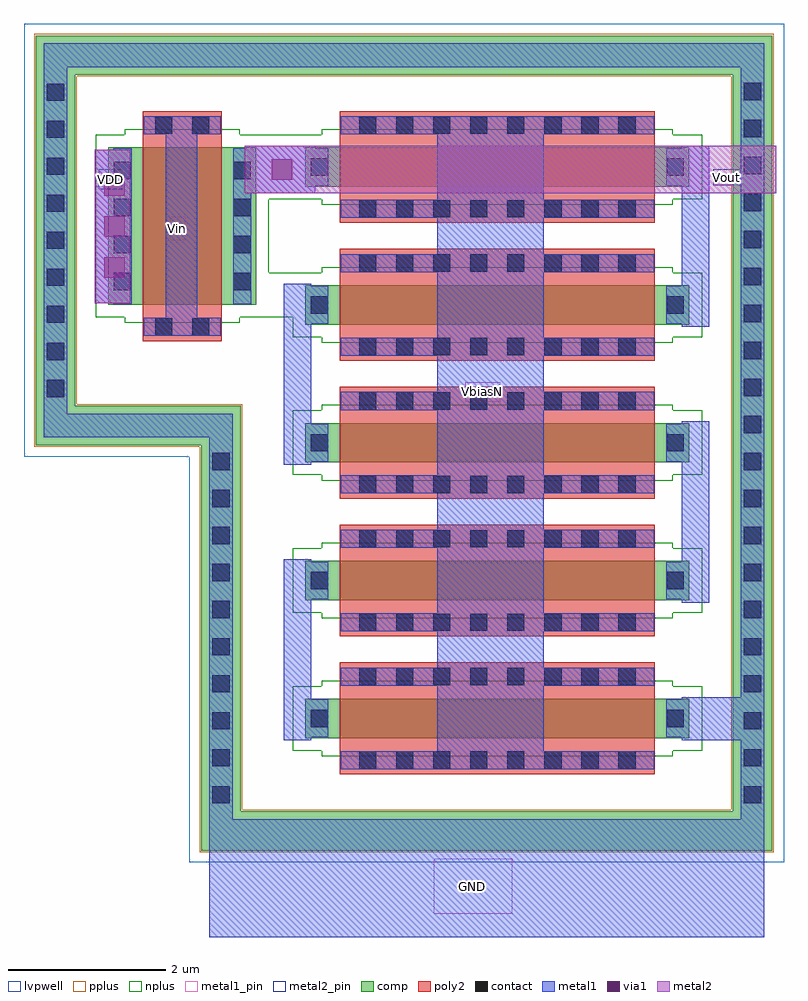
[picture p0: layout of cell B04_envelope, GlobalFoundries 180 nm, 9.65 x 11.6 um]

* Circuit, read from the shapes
.subckt B04_envelope GND VDD VbiasN Vin Vout
XM1 Vout Vin VDD GND nfet_03v3 w=2u l=1u
XM2 GND VbiasN n1 GND nfet_03v3 w=0.5u l=4u
XM3 n2 VbiasN n1 GND nfet_03v3 w=0.5u l=4u
XM4 n2 VbiasN n3 GND nfet_03v3 w=0.5u l=4u
XM5 n4 VbiasN n3 GND nfet_03v3 w=0.5u l=4u
XM6 n4 VbiasN Vout GND nfet_03v3 w=0.5u l=4u
.ends

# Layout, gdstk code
import gdstk
lib = gdstk.Library(unit=1e-6, precision=1e-09)
def R(c, l, rs):  # rectangles x0, y0, x1, y1
    for r in rs: c.add(gdstk.rectangle(r[:2], r[2:], *l))
def A(c, l, x, y, w, h, nx, ny, dx, dy):  # array of equal rectangles
    R(c, l, [(x+i*dx, y+j*dy, x+i*dx+w, y+j*dy+h) for i in range(nx) for j in range(ny)])
comp = (22, 0)
poly2 = (30, 0)
pplus = (31, 0)
nplus = (32, 0)
contact = (33, 0)
metal1 = (34, 0)
metal1_pin = (34, 10)
via1 = (35, 0)
metal2 = (36, 0)
metal2_pin = (36, 10)
lvpwell = (204, 0)

nfet_03v3_7cufv7 = lib.new_cell('nfet_03v3_7CUFV7')
R(nfet_03v3_7cufv7, comp, [(-2.44,-0.25,2.44,0.25)])
R(nfet_03v3_7cufv7, poly2, [(-2,-0.71,2,0.71)])
R(nfet_03v3_7cufv7, nplus, [(-2.23,-0.48,2.23,-0.41), (-2.6,-0.41,2.6,0.41), (-2.23,0.41,2.23,0.48)])
A(nfet_03v3_7cufv7, contact, -1.755, -0.64, 0.22, 0.22, 8, 2, 0.47, 1.06)
R(nfet_03v3_7cufv7, contact, [(-2.37,-0.11,-2.15,0.11), (2.15,-0.11,2.37,0.11)])
R(nfet_03v3_7cufv7, metal1, [(-1.99,-0.645,1.99,-0.415), (-2.375,-0.24,-2.145,0.24), (2.145,-0.24,2.375,0.24), (-1.99,0.415,1.99,0.645)])
R(nfet_03v3_7cufv7, lvpwell, [(-2.56,-0.83,2.56,0.83)])

nfet_03v3_se6w7u = lib.new_cell('nfet_03v3_SE6W7U')
R(nfet_03v3_se6w7u, comp, [(-0.94,-1,0.94,1)])
R(nfet_03v3_se6w7u, poly2, [(-0.5,-1.46,0.5,1.46)])
R(nfet_03v3_se6w7u, nplus, [(-0.73,-1.23,0.73,-1.16), (-1.1,-1.16,1.1,1.16), (-0.73,1.16,0.73,1.23)])
A(nfet_03v3_se6w7u, contact, -0.87, -0.815, 0.22, 0.22, 1, 4, 0, 0.47)
A(nfet_03v3_se6w7u, contact, 0.65, -0.815, 0.22, 0.22, 1, 4, 0, 0.47)
R(nfet_03v3_se6w7u, contact, [(-0.345,-1.39,-0.125,-1.17), (0.125,-1.39,0.345,-1.17), (-0.345,1.17,-0.125,1.39), (0.125,1.17,0.345,1.39)])
R(nfet_03v3_se6w7u, metal1, [(-0.49,-1.395,0.49,-1.165), (-0.875,-0.99,-0.645,0.99), (0.645,-0.99,0.875,0.99), (-0.49,1.165,0.49,1.395)])
R(nfet_03v3_se6w7u, lvpwell, [(-1.06,-1.58,1.06,1.58)])

b04_envelope = lib.new_cell('B04_envelope')
R(b04_envelope, comp, [(-1.2,-0.85,6.05,-0.35), (-1.2,-0.35,-0.7,4.3), (5.55,-0.35,6.05,9), (-3.3,4.3,-0.7,4.8), (-3.3,4.8,-2.8,9), (-3.3,9,6.05,9.5)])
R(b04_envelope, pplus, [(-1.22,-0.87,6.07,-0.33), (-1.22,-0.33,-0.68,4.28), (5.53,-0.33,6.07,8.98), (-3.32,4.28,-0.68,4.82), (-3.32,4.82,-2.78,8.98), (-3.32,8.98,6.07,9.52)])
R(b04_envelope, nplus, [(-0.34,5.92,-0.04,6.49), (-0.34,7.42,-0.04,8.24)])
A(b04_envelope, contact, -1.06, -0.25, 0.22, 0.22, 1, 10, 0, 0.47)
A(b04_envelope, contact, 5.69, -0.25, 0.22, 0.22, 1, 20, 0, 0.47)
A(b04_envelope, contact, -3.16, 4.91, 0.22, 0.22, 1, 9, 0, 0.47)
R(b04_envelope, metal1, [(-1.1,-1.95,5.95,-0.45), (-1.1,-0.45,-0.8,4.4), (5.65,-0.45,5.95,0.55), (1.8,0.25,3.15,8.4), (-0.15,0.55,0.2,2.85), (4.9,0.55,5.95,1.1), (5.65,1.1,5.95,9.1), (4.9,2.3,5.25,4.6), (-0.15,4.05,0.2,6.35), (-3.2,4.4,-0.8,4.7), (-3.2,4.7,-2.9,9.1), (-1.65,5.8,-1.25,8.4), (4.9,5.8,5.25,8.1), (-2.55,6.1,-2.25,6.2), (-2.55,6.2,-2.15,7.95), (-0.65,7.5,0.25,8.1), (-2.55,7.95,-2.25,8.05), (-3.2,9.1,5.95,9.4)])
R(b04_envelope, metal1_pin, [(1.75,-1.65,2.75,-0.95), (2.15,4.85,2.6,5.1), (-1.6,6.9,-1.4,7.2)])
A(b04_envelope, via1, -2.43, 6.425, 0.26, 0.26, 1, 3, 0, 0.52)
R(b04_envelope, via1, [(-0.305,7.67,-0.045,7.93)])
R(b04_envelope, metal2, [(-2.55,6.1,-2.1,8.05), (-0.65,7.5,6.1,8.1)])
R(b04_envelope, metal2_pin, [(-2.5,7.55,-2.2,7.8), (5.3,7.6,5.65,7.8)])
R(b04_envelope, lvpwell, [(-1.35,-1,6.2,4.15), (-3.45,4.15,6.2,9.65)])
b04_envelope.add(gdstk.Reference(nfet_03v3_7cufv7, (2.56,0.83)))
b04_envelope.add(gdstk.Reference(nfet_03v3_se6w7u, (-1.44,7.08)))
b04_envelope.add(gdstk.Reference(nfet_03v3_7cufv7, (2.56,7.83)))
b04_envelope.add(gdstk.Reference(nfet_03v3_7cufv7, (2.56,4.33)))
b04_envelope.add(gdstk.Reference(nfet_03v3_7cufv7, (2.56,6.08)))
b04_envelope.add(gdstk.Reference(nfet_03v3_7cufv7, (2.56,2.58)))
b04_envelope.add(gdstk.Label('VDD', (-2.35,7.675), layer=36, texttype=10))
b04_envelope.add(gdstk.Label('Vout', (5.475,7.7), layer=36, texttype=10))
b04_envelope.add(gdstk.Label('GND', (2.25,-1.3), layer=34, texttype=10))
b04_envelope.add(gdstk.Label('Vin', (-1.5,7.05), layer=34, texttype=10))
b04_envelope.add(gdstk.Label('VbiasN', (2.375,4.975), layer=34, texttype=10))

lib.write_gds('B04_envelope.gds')
